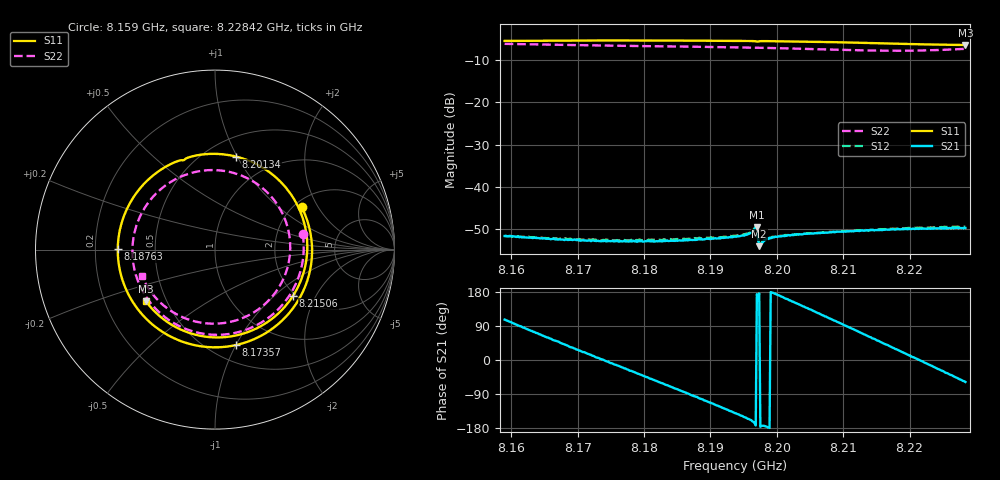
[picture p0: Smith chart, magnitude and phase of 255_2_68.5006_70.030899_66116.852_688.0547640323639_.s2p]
#  HZ  S  RI  R  50.00
! Rohde & Schwarz Vector Network Analyzer
! Rohde-Schwarz,ZNB20-2Port,1311601062101988,3.16
! Created: UTC 3/20/2024, 5:00:01 PM
! freq[Hz]  re:S11  im:S11  re:S21  im:S21  re:S12  im:S12  re:S22  im:S22
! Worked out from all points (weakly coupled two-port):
!   401 points, 8.159 GHz to 8.22842 GHz, reference 50 ohm
!   highest |S21| = -49.53 dB at 8.19701 GHz (marker M1); lowest = -54.1 dB at 8.19735 GHz (marker M2)
!   lowest |S11| = -6.4 dB at 8.22842 GHz (marker M3), VSWR 2.85, Z = 19.2 - j14.3 ohm
!   |S11| at or under -10 dB: nowhere
!   |S22| runs from -7.7 to -6.1 dB; largest |S21 - S12| = 0.00024
!   S11 on the Smith chart (normalised r, x): 8.159 GHz: 2.19, +1.46; 8.17357 GHz: 0.66, -1.00; 8.18763 GHz: 0.30, +0.00; 8.20134 GHz: 0.69, +0.99; 8.21506 GHz: 1.93, -1.33; 8.22842 GHz: 0.38, -0.29
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8.158996e9  0.482 0.2377  -0.000745 0.00249  -0.000754 0.00247  0.4887 0.0871
8.164723e9  0.5248 -0.1364  0.00105 0.00219  0.00104 0.00224  0.4222 -0.2438
8.170624e9  0.2995 -0.4544  0.00213 0.000877  0.00217 0.000914  0.156 -0.4525
8.173575e9  0.1155 -0.5321  0.00226 8.58e-05  0.00231 7.77e-05  -0.0116 -0.4743
8.17774e9  -0.1664 -0.5182  0.00199 -0.00102  0.00205 -0.00106  -0.2356 -0.4059
8.182253e9  -0.4202 -0.3444  0.00119 -0.00193  0.0012 -0.00202  -0.4072 -0.2233
8.187633e9  -0.5418 0.00223  -0.00022 -0.00233  -0.000309 -0.00244  -0.454 0.0671
8.190584e9  -0.501 0.2033  -0.00111 -0.00218  -0.0012 -0.00219  -0.3988 0.2206
8.193708e9  -0.3783 0.3836  -0.00197 -0.00164  -0.00206 -0.00162  -0.2848 0.3506
8.196658e9  -0.202 0.4951  -0.00306 -0.000731  -0.00316 -0.000618  -0.138 0.4255
8.197005e9  -0.1775 0.4977  -0.00332 0.000369  -0.00334 0.000529  -0.119 0.4303
8.197353e9  -0.1631 0.5069  -0.00197 0.000147  -0.00196 0.00024  -0.1001 0.4347
8.1977e9  -0.1385 0.5164  -0.00213 -0.000228  -0.00216 -0.000152  -0.0807 0.4381
8.201344e9  0.118 0.5182  -0.00249 0.000815  -0.0025 0.000941  0.1241 0.4209
8.205336e9  0.3616 0.3814  -0.00184 0.0021  -0.00175 0.00218  0.3139 0.2942
8.21037e9  0.512 0.0637  -2.3e-05 0.00293  4.38e-05 0.00296  0.4192 0.0195
8.215056e9  0.4347 -0.2575  0.00188 0.00241  0.00195 0.00242  0.3277 -0.2506
8.216965e9  0.3457 -0.3623  0.00247 0.00186  0.00258 0.00183  0.2396 -0.3344
8.219742e9  0.1731 -0.463  0.00304 0.000763  0.00317 0.000676  0.0741 -0.4049
8.222519e9  -0.0251 -0.488  0.00314 -0.000492  0.00322 -0.000635  -0.1098 -0.4006
8.225296e9  -0.2171 -0.4325  0.00272 -0.00171  0.00276 -0.00189  -0.2783 -0.3174
8.22842e9  -0.3863 -0.2859  0.00171 -0.00274  0.00166 -0.00292  -0.4079 -0.1465
